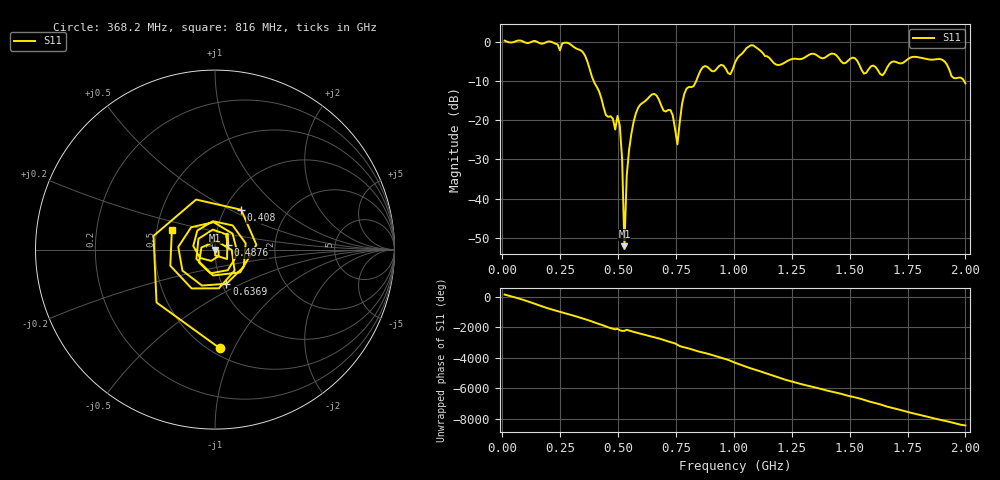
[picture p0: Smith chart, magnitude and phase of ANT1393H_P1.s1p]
!Created with skrf (http://scikit-rf.org).
# Hz S RI R 50.0
!freq ReS11 ImS11
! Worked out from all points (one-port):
!   201 points, 10 MHz to 2 GHz, reference 50 ohm
!   lowest |S11| = -52.1 dB at 527.4 MHz (marker M1), VSWR 1.00, Z = 50 - j0.247 ohm
!   |S11| at or under -10 dB: 394.4 MHz to 837.6 MHz (443.2 MHz wide, 71.9 % of centre); 1.993891 GHz to end of sweep
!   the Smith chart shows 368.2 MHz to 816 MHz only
!   S11 on the Smith chart (normalised r, x): 368.2 MHz: 0.56, -0.88; 408 MHz: 1.19, +0.57; 487.6 MHz: 1.15, +0.06; 636.9 MHz: 1.05, -0.42; 816 MHz: 0.60, +0.14
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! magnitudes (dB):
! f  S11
! 10 MHz  0.2
! 258.8 MHz  -0.5
! 368.2 MHz  -5.2
! 408 MHz  -11.5
! 487.6 MHz  -22.4
! 497.6 MHz  -18.9
! 507.5 MHz  -21.4
! 517.5 MHz  -29.9
! 527.4 MHz  -52.1
! 537.4 MHz  -34.1
! 557.2 MHz  -23.5
! 587.1 MHz  -16.8
! 636.9 MHz  -13.9
! 726.4 MHz  -17.4
! 756.2 MHz  -26.2
! 786.1 MHz  -13.3
! 816 MHz  -11.6
! 865.7 MHz  -6.5
! 985.1 MHz  -8.3
! 1.005 GHz  -5.4
! 1.075 GHz  -0.9
! 1.184 GHz  -5.9
! 1.254 GHz  -4.4
! 1.502 GHz  -4.4
! 1.642 GHz  -8.6
! 1.751 GHz  -4.5
! 1.901 GHz  -4.6
! 2 GHz  -10.6
